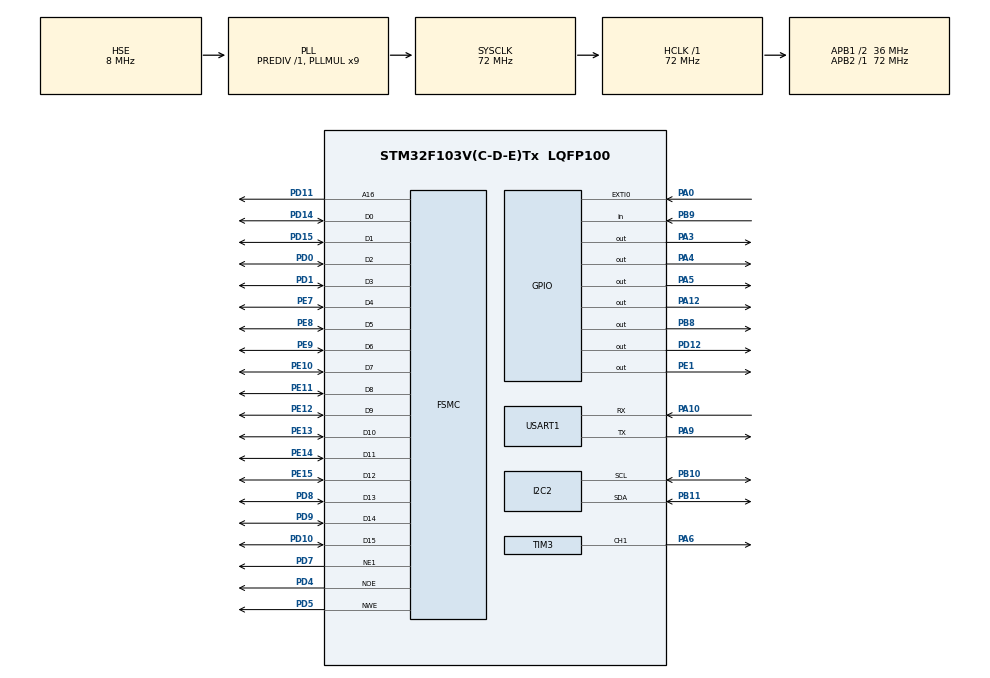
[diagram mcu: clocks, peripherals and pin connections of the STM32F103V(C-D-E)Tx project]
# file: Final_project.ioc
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FREERTOS.Tasks01=defaultTask,24,128,StartDefaultTask,Default,NULL,Dynamic,NULL,NULL;myTask02,10,128,StartTask02,Default,NULL,Dynamic,NULL,NULL;ESP_tsak,8,128,StartTask03,Default,NULL,Dynamic,NULL,NULL
FREERTOS.configUSE_NEWLIB_REENTRANT=0
Mcu.Family=STM32F1
Mcu.Name=STM32F103V(C-D-E)Tx
Mcu.Package=LQFP100
NVIC.EXTI0_IRQn=true\:6\:0\:true\:false\:true\:true\:true\:true\:true
NVIC.PriorityGroup=NVIC_PRIORITYGROUP_4
NVIC.USART1_IRQn=true\:5\:0\:false\:false\:true\:true\:true\:true\:true
OSC_IN.Mode=HSE-External-Oscillator
OSC_IN.Signal=RCC_OSC_IN
OSC_OUT.Mode=HSE-External-Oscillator
OSC_OUT.Signal=RCC_OSC_OUT
PA0-WKUP.GPIO_PuPd=GPIO_PULLDOWN
PA0-WKUP.Signal=GPXTI0
PA10.Mode=Asynchronous
PA10.Signal=USART1_RX
PA12.Signal=GPIO_Output
PA13.Mode=Serial_Wire
PA13.Signal=SYS_JTMS-SWDIO
PA14.Mode=Serial_Wire
PA14.Signal=SYS_JTCK-SWCLK
PA3.Signal=GPIO_Output
PA4.Signal=GPIO_Output
PA5.Signal=GPIO_Output
PA6.Signal=S_TIM3_CH1
PA9.Mode=Asynchronous
PA9.Signal=USART1_TX
PB10.Mode=I2C
PB10.Signal=I2C2_SCL
PB11.Mode=I2C
PB11.Signal=I2C2_SDA
PB8.PinState=GPIO_PIN_SET
PB8.Signal=GPIO_Output
PB9.Signal=GPIO_Input
PC14-OSC32_IN.Mode=LSE-External-Oscillator
PC14-OSC32_IN.Signal=RCC_OSC32_IN
PC15-OSC32_OUT.Mode=LSE-External-Oscillator
PC15-OSC32_OUT.Signal=RCC_OSC32_OUT
PD0.Mode=16b-d1
PD0.Signal=FSMC_D2
PD1.Mode=16b-d1
PD1.Signal=FSMC_D3
PD10.Mode=16b-d1
PD10.Signal=FSMC_D15
PD11.Mode=A16_1
PD11.Signal=FSMC_A16
PD12.GPIO_Speed=GPIO_SPEED_FREQ_HIGH
PD12.Signal=GPIO_Output
PD14.Mode=16b-d1
PD14.Signal=FSMC_D0
PD15.Mode=16b-d1
PD15.Signal=FSMC_D1
PD4.Mode=Lcd1
PD4.Signal=FSMC_NOE
PD5.Mode=Lcd1
PD5.Signal=FSMC_NWE
PD7.Mode=NorPsramChipSelect1_1
PD7.Signal=FSMC_NE1
PD8.Mode=16b-d1
PD8.Signal=FSMC_D13
PD9.Mode=16b-d1
PD9.Signal=FSMC_D14
PE1.GPIO_Speed=GPIO_SPEED_FREQ_HIGH
PE1.Signal=GPIO_Output
PE10.Mode=16b-d1
PE10.Signal=FSMC_D7
PE11.Mode=16b-d1
PE11.Signal=FSMC_D8
PE12.Mode=16b-d1
PE12.Signal=FSMC_D9
PE13.Mode=16b-d1
PE13.Signal=FSMC_D10
PE14.Mode=16b-d1
PE14.Signal=FSMC_D11
PE15.Mode=16b-d1
PE15.Signal=FSMC_D12
PE7.Mode=16b-d1
PE7.Signal=FSMC_D4
PE8.Mode=16b-d1
PE8.Signal=FSMC_D5
PE9.Mode=16b-d1
PE9.Signal=FSMC_D6
ProjectManager.HeapSize=0x200
ProjectManager.StackSize=0x400
ProjectManager.TargetToolchain=Makefile
RCC.AHBFreq_Value=72000000
RCC.APB1CLKDivider=RCC_HCLK_DIV2
RCC.APB1Freq_Value=36000000
RCC.APB1TimFreq_Value=72000000
RCC.APB2Freq_Value=72000000
RCC.APB2TimFreq_Value=72000000
RCC.HCLKFreq_Value=72000000
RCC.PLLMUL=RCC_PLL_MUL9
RCC.PLLSourceVirtual=RCC_PLLSOURCE_HSE
RCC.SYSCLKFreq_VALUE=72000000
RCC.SYSCLKSource=RCC_SYSCLKSOURCE_PLLCLK
RCC.USBFreq_Value=72000000
SH.S_TIM3_CH1.0=TIM3_CH1,PWM Generation1 CH1
TIM3.Channel-PWM\ Generation1\ CH1=TIM_CHANNEL_1
TIM3.Period=4500-1
TIM3.Prescaler=0
TIM3.Pulse-PWM\ Generation1\ CH1=2250
USART1.VirtualMode=VM_ASYNC
VP_FREERTOS_VS_CMSIS_V2.Mode=CMSIS_V2
VP_TIM3_VS_ClockSourceINT.Mode=Internal
board=custom

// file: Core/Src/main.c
/* USER CODE BEGIN Header */
/**
 ******************************************************************************
 * @file           : main.c
 * @brief          : Main program body
 ******************************************************************************
 * @attention
 *
 * Copyright (c) 2025 STMicroelectronics.
 * All rights reserved.
 *
 * This software is licensed under terms that can be found in the LICENSE file
 * in the root directory of this software component.
 * If no LICENSE file comes with this software, it is provided AS-IS.
 *
 ******************************************************************************
 */
/* USER CODE END Header */
#include "main.h"
#include "cmsis_os.h"
#include "i2c.h"
#include "tim.h"
#include "usart.h"
#include "gpio.h"
#include "fsmc.h"

void SystemClock_Config(void);
void MX_FREERTOS_Init(void);

int main(void)
{

  /* MCU Configuration--------------------------------------------------------*/

  /* Reset of all peripherals, Initializes the Flash interface and the Systick. */
  HAL_Init();

  /* Configure the system clock */
  SystemClock_Config();

  /* Initialize all configured peripherals */
  MX_GPIO_Init();
  MX_FSMC_Init();
  MX_I2C2_Init();
  MX_USART1_UART_Init();
  MX_TIM3_Init();

  /* Init scheduler */
  osKernelInitialize();  /* Call init function for freertos objects (in freertos.c) */
  MX_FREERTOS_Init();

  /* Start scheduler */
  osKernelStart();

  /* We should never get here as control is now taken by the scheduler */
  /* Infinite loop */
    while (1) {

    }
}

void SystemClock_Config(void)
{
  RCC_OscInitTypeDef RCC_OscInitStruct = {0};
  RCC_ClkInitTypeDef RCC_ClkInitStruct = {0};

  /** Initializes the RCC Oscillators according to the specified parameters
  * in the RCC_OscInitTypeDef structure.
  */
  RCC_OscInitStruct.OscillatorType = RCC_OSCILLATORTYPE_HSE;
  RCC_OscInitStruct.HSEState = RCC_HSE_ON;
  RCC_OscInitStruct.HSEPredivValue = RCC_HSE_PREDIV_DIV1;
  RCC_OscInitStruct.HSIState = RCC_HSI_ON;
  RCC_OscInitStruct.PLL.PLLState = RCC_PLL_ON;
  RCC_OscInitStruct.PLL.PLLSource = RCC_PLLSOURCE_HSE;
  RCC_OscInitStruct.PLL.PLLMUL = RCC_PLL_MUL9;
  if (HAL_RCC_OscConfig(&RCC_OscInitStruct) != HAL_OK)
  {
    Error_Handler();
  }

  /** Initializes the CPU, AHB and APB buses clocks
  */
  RCC_ClkInitStruct.ClockType = RCC_CLOCKTYPE_HCLK|RCC_CLOCKTYPE_SYSCLK
                              |RCC_CLOCKTYPE_PCLK1|RCC_CLOCKTYPE_PCLK2;
  RCC_ClkInitStruct.SYSCLKSource = RCC_SYSCLKSOURCE_PLLCLK;
  RCC_ClkInitStruct.AHBCLKDivider = RCC_SYSCLK_DIV1;
  RCC_ClkInitStruct.APB1CLKDivider = RCC_HCLK_DIV2;
  RCC_ClkInitStruct.APB2CLKDivider = RCC_HCLK_DIV1;

  if (HAL_RCC_ClockConfig(&RCC_ClkInitStruct, FLASH_LATENCY_2) != HAL_OK)
  {
    Error_Handler();
  }
}

void Error_Handler(void)
{
    __disable_irq();
    while (1) {
    }
}

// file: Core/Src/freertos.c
/* USER CODE BEGIN Header */
/**
 ******************************************************************************
 * File Name          : freertos.c
 * Description        : Code for freertos applications
 ******************************************************************************
 * @attention
 *
 * Copyright (c) 2025 STMicroelectronics.
 * All rights reserved.
 *
 * This software is licensed under terms that can be found in the LICENSE file
 * in the root directory of this software component.
 * If no LICENSE file comes with this software, it is provided AS-IS.
 *
 ******************************************************************************
 */
/* USER CODE END Header */

#include "FreeRTOS.h"
#include "task.h"
#include "main.h"
#include "cmsis_os.h"

/* USER CODE BEGIN Includes */
#include "queue.h"
#include "semphr.h"
#include <stdio.h>
/* USER CODE END Includes */

/* USER CODE BEGIN PTD */
typedef struct {
    eGestureInfo_t gesture_data;
    eTouchInfo_t touch_data;
} SensorData_t;

uint8_t open                 = 0;

// extern I2C_HandleTypeDef hi2c2;
/* USER CODE END PTD */

/* USER CODE BEGIN PD */

QueueHandle_t xSensorDataQueue     = NULL;

#define mode_default    0
#define mode_Sensor_lcd 1
#define mode_Sensor_PC  2
#define mode_Wifi_send  3
#define mode_Wifi_rec   4
#define mode_Rled       5

uint8_t mode = mode_Sensor_PC;

uint8_t enable_senor = 0;
uint8_t enable_wifi  = 0;
uint8_t enable_Rled  = 0;

extern UART_HandleTypeDef huart1;
extern I2C_HandleTypeDef hi2c1;
/* USER CODE END PD */

/* Definitions for defaultTask */
osThreadId_t defaultTaskHandle;
const osThreadAttr_t defaultTask_attributes = {
    .name       = "defaultTask",
    .stack_size = 128 * 4,
    .priority   = (osPriority_t)osPriorityNormal,
};
/* Definitions for myTask02 */
osThreadId_t myTask02Handle;
const osThreadAttr_t myTask02_attributes = {
    .name       = "myTask02",
    .stack_size = 128 * 4,
    .priority   = (osPriority_t)osPriorityLow2,
};
/* Definitions for ESP_tsak */
osThreadId_t ESP_tsakHandle;
const osThreadAttr_t ESP_tsak_attributes = {
    .name       = "ESP_tsak",
    .stack_size = 128 * 4,
    .priority   = (osPriority_t)osPriorityLow,
};

void StartDefaultTask(void *argument);
void StartTask02(void *argument);
void StartTask03(void *argument);

void MX_FREERTOS_Init(void); /* (MISRA C 2004 rule 8.1) */

void MX_FREERTOS_Init(void)
{

    /* USER CODE BEGIN RTOS_QUEUES */
    /* add queues, ... */

    xSensorDataQueue = xQueueCreate(1, sizeof(SensorData_t));

    /* USER CODE END RTOS_QUEUES */

    /* Create the thread(s) */
    /* creation of defaultTask */
    defaultTaskHandle = osThreadNew(StartDefaultTask, NULL, &defaultTask_attributes);

    /* creation of myTask02 */
    myTask02Handle = osThreadNew(StartTask02, NULL, &myTask02_attributes);

    /* creation of ESP_tsak */
    ESP_tsakHandle = osThreadNew(StartTask03, NULL, &ESP_tsak_attributes);

}

void StartDefaultTask(void *argument)
{
    /* USER CODE BEGIN StartDefaultTask */
    LCD_INIT();
    SensorData_t receivedData;
    // uint16_t rec_Data;

    for (;;) {
        if (mode == mode_Sensor_lcd) {

            if (xQueueReceive(xSensorDataQueue, &receivedData, portMAX_DELAY) == pdTRUE) {
                LCD_DrawString(70, 0, "sensormode_in");
                switch (receivedData.gesture_data) {
                    case eFilckR:
                        /* code */
                        LCD_DrawString(0, 0, "r");
                        break;
                    case eFilckL:
                        /* code */
                        LCD_DrawString(0, 0, "l");
                        break;
                    case eFilckU:
                        /* code */
                        LCD_DrawString(0, 0, "u");
                        break;
                    case eFilckD:
                        /* code */
                        LCD_DrawString(0, 0, "d");
                        break;
                    default:
                        break;
                }
                switch (receivedData.touch_data) {
                    case eTouchCenter:
                        /* code */
                        LCD_DrawString(0,20,"c");
                        break;
                    case  eTapCenter:
                        LCD_DrawString(0,20,"e");
                        break;
                    case eTouchDown:
                        /* code */
                        LCD_Clear(0,20,8,16,WHITE);
                        break;
                    case eTouchUp:
                        /* code */

                        break;
                    case eTouchLeft:
                        /* code */

                        break;
                    case eTouchRight:

                        break;
                    default:

                        break;
                }
            }
        }
        osDelay(1);
    }
    /* USER CODE END StartDefaultTask */
}

void StartTask02(void *argument)
{
    /* USER CODE BEGIN StartTask02 */
    sInfo_t info;
    uint16_t lastTimeStamp;
    uint16_t nowTimeStamp;
    uint16_t lastTouch;
    uint16_t nowTouch;
    SensorData_t sensorData;

    //open MGC3X30
    begin();

    for (;;) {

        if ((mode == mode_Sensor_PC)||(mode == mode_Sensor_lcd)) {
            sensorDataRecv(&info, &nowTimeStamp, &nowTouch);
            sensorData.touch_data   = getTouchInfo(&info, &lastTimeStamp, &nowTimeStamp, &lastTouch, &nowTouch);
            sensorData.gesture_data = getGestureInfo(&info);
            if (mode == mode_Sensor_lcd) {

                xQueueSend(xSensorDataQueue, &sensorData, portMAX_DELAY);
                sensorData.gesture_data = 0;
                sensorData.touch_data = 0;
                //info.gestureInfo        = 0;
                vTaskDelay(pdMS_TO_TICKS(100));
            }

            if (mode == mode_Sensor_PC) {
                switch (sensorData.gesture_data) {
                    case 2:
                        /* code */
                        LCD_DrawString(0, 0, "r");
                        send_data("2");
                        break;
                    case 3:
                        /* code */
                        LCD_DrawString(0, 0, "l");
                        send_data("1");
                        break;
                    case 4:
                        /* code */
                        LCD_DrawString(0, 0, "u");
                        send_data("3");
                        break;
                    case 5:
                        /* code */
                        LCD_DrawString(0, 0, "d");
                        send_data("4");
                        break;
                    default:
                        break;
                }

                sensorData.gesture_data = 0;
                //info.gestureInfo        = 0;
            }
        }
    }

    for (;;) { vTaskDelay(pdMS_TO_TICKS(100)); }
    /* USER CODE END StartTask02 */
}

/* USER CODE BEGIN Header_StartTask03 */
/**
 * @brief Function implementing the ESP_tsak thread.
 * @param argument: Not used
 * @retval None
 */

// void HAL_UART_RxCpltCallback(UART_HandleTypeDef *huart)
// {
//     static int index = 0;
//     // vTaskDelay(pdMS_TO_TICKS(100));
//     // vTaskDelay(pdMS_TO_TICKS(100));
//     if (huart->Instance == USART3) {
//         sprintf(X_data, "%d", index);
//         LCD_DrawString_promax(0, 60, X_data, 3);
//         LCD_DrawString(0, 40, "in");
//         ESP_data_received = 1;
//         // for(uint8_t i=0;i<3;++i){
//         //   sprintf(X_data, "%u",ESP_rx_buffer[i]);
//         //  LCD_DrawString_promax(i*24, 120, X_data, 3);
//         // }
//         LCD_Clear(0, 120, 8 * 25, 16, WHITE);
//         sprintf(X_data, "%u", ESP_rx_buffer[0]);
//         LCD_DrawString_promax(0, 120, X_data, 3);
//         index++;
//         // if (ESP_rx_buffer[7] == 1) {
//         //     LCD_DrawString(0, 40, "yes");
//         // }
//         memset(ESP_rx_buffer, 0, 1);
//         HAL_UART_Receive_IT(&huart1, ESP_rx_buffer, 3);
//     }
// }

/* USER CODE END Header_StartTask03 */
void StartTask03(void *argument)
{
    /* USER CODE BEGIN StartTask03 */
    /* Infinite loop */

    // Open Esp8266

    HAL_GPIO_WritePin(GPIOB, GPIO_PIN_8, GPIO_PIN_SET);
    ESP8266_Config();
    //  HAL_UART_Receive_IT(&huart1, ESP_rx_buffer,8);
    for (;;) {
        // if (mode_Sensor_PC) {

        // }
        osDelay(1);
    }

    /* USER CODE END StartTask03 */
}
